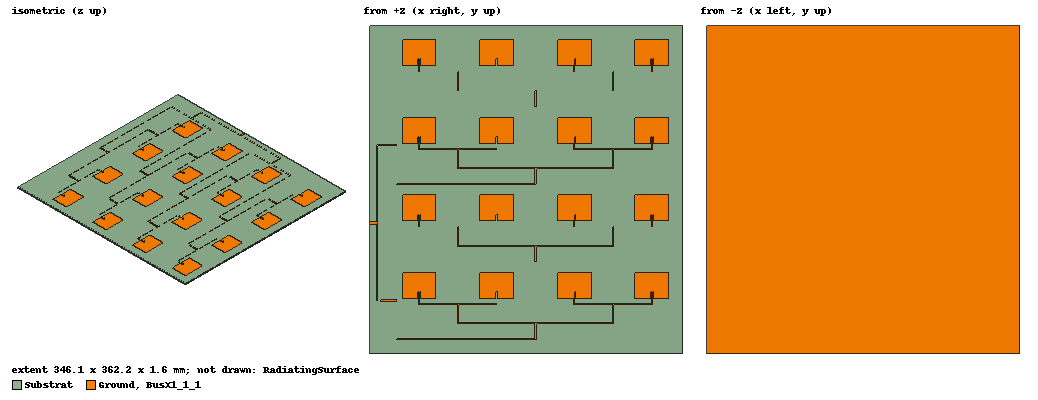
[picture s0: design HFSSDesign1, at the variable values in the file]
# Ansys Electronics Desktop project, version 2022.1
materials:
  vacuum: permittivity=1
  FR4_epoxy: permittivity=4.4 dielectric_loss_tangent=0.02

design HFSSDesign1 (HFSS, DrivenModal, model units mm)
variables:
  h = 1.6mm
  W = 37.234mm
  L = 28.809mm
  y0 = 7.434mm
  gi = 1mm
  dx = 85.655mm
  dy = 85.655mm
  W50 = 3.059mm
  W100 = 0.7092mm
  W70 = 1.621mm
  Q70 = 17.17mm
  cl1 = 6.5mm
  cl = 3.5mm
  stp = W100/2+Q70+cl
  Dout = L/2+cl1+1*stp+W100/2+Q70
  Lf = 8.5mm
  mg = 15.5mm
  Xmin = -1.5*dx-W/2-cl1-stp-W100/2-Lf
  Xmax = 1.5*dx+W/2+mg
  Ymin = -1.5*dy-Dout-W100/2-mg
  Ymax = 1.5*dy+L/2+mg
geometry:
  Substrat [FR4_epoxy] = box(corner=(Xmin, Ymin, 0mm), size=(Xmax-Xmin, Ymax-Ymin, h))
  Ground = rectangle(corner=(Xmin, Ymin, 0mm), x_size=Xmax-Xmin, y_size=Ymax-Ymin)
  patch_1 = rectangle(corner=(-1.5*dx-W/2, -1.5*dy-L/2, h), x_size=W, y_size=L)
  Cut_1 = rectangle(corner=(-1.5*dx-W100/2-gi, -1.5*dy-L/2, h), x_size=W100+2*gi, y_size=y0)
  patch_1.subtract(Cut_1)
  Stub_1 = rectangle(corner=(-1.5*dx-W100/2, -1.5*dy-L/2-cl1, h), x_size=W100, y_size=y0+cl1)
  patch_1.unite(Stub_1)
  patch_1_1, patch_1_2, patch_1_3 = patch_1.duplicate_along_line(step=(85.655mm, 0mm, 0mm), total=4)
  patch_1_4, patch_1_5, patch_1_6 = patch_1.duplicate_along_line(step=(0mm, 85.655mm, 0mm), total=4)
  patch_1_1_1, patch_1_1_2, patch_1_1_3 = patch_1_1.duplicate_along_line(step=(0mm, 85.655mm, 0mm), total=4)
  patch_1_2_1, patch_1_2_2, patch_1_2_3 = patch_1_2.duplicate_along_line(step=(0mm, 85.655mm, 0mm), total=4)
  patch_1_3_1, patch_1_3_2, patch_1_3_3 = patch_1_3.duplicate_along_line(step=(0mm, 85.655mm, 0mm), total=4)
  BusX1_1_1 = rectangle(corner=(-1.5*dx-W100/2, -1.5*dy-L/2-cl1-W100/2, h), x_size=dx+W100, y_size=W100)
  QWX1_1_1 = rectangle(corner=(-dx-W70/2, -1.5*dy-L/2-cl1-W100/2-Q70, h), x_size=W70, y_size=Q70)
  LnX1_1_1 = rectangle(corner=(-dx-W100/2, -1.5*dy-L/2-cl1-stp, h), x_size=W100, y_size=cl)
  BusX1_1_2 = rectangle(corner=(dx/2-W100/2, -1.5*dy-L/2-cl1-W100/2, h), x_size=dx+W100, y_size=W100)
  QWX1_1_2 = rectangle(corner=(dx-W70/2, -1.5*dy-L/2-cl1-W100/2-Q70, h), x_size=W70, y_size=Q70)
  LnX1_1_2 = rectangle(corner=(dx-W100/2, -1.5*dy-L/2-cl1-stp, h), x_size=W100, y_size=cl)
  BusX2_1_1 = rectangle(corner=(-dx-W100/2, -1.5*dy-L/2-cl1-stp-W100/2, h), x_size=2*dx+W100, y_size=W100)
  QWX2_1_1 = rectangle(corner=(-W70/2, -1.5*dy-L/2-cl1-stp-W100/2-Q70, h), x_size=W70, y_size=Q70)
  Row_1 = rectangle(corner=(-1.5*dx-W/2-cl1, -1.5*dy-Dout-W100/2, h), x_size=1.5*dx+W/2+cl1+W100/2, y_size=W100)
  BusX1_2_1 = rectangle(corner=(-1.5*dx-W100/2, -dy/2-L/2-cl1-W100/2, h), x_size=dx+W100, y_size=W100)
  QWX1_2_1 = rectangle(corner=(-dx-W70/2, -dy/2-L/2-cl1-W100/2-Q70, h), x_size=W70, y_size=Q70)
  LnX1_2_1 = rectangle(corner=(-dx-W100/2, -dy/2-L/2-cl1-stp, h), x_size=W100, y_size=cl)
  BusX1_2_2 = rectangle(corner=(dx/2-W100/2, -dy/2-L/2-cl1-W100/2, h), x_size=dx+W100, y_size=W100)
  QWX1_2_2 = rectangle(corner=(dx-W70/2, -dy/2-L/2-cl1-W100/2-Q70, h), x_size=W70, y_size=Q70)
  LnX1_2_2 = rectangle(corner=(dx-W100/2, -dy/2-L/2-cl1-stp, h), x_size=W100, y_size=cl)
  BusX2_2_1 = rectangle(corner=(-dx-W100/2, -dy/2-L/2-cl1-stp-W100/2, h), x_size=2*dx+W100, y_size=W100)
  QWX2_2_1 = rectangle(corner=(-W70/2, -dy/2-L/2-cl1-stp-W100/2-Q70, h), x_size=W70, y_size=Q70)
  Row_2 = rectangle(corner=(-1.5*dx-W/2-cl1, -dy/2-Dout-W100/2, h), x_size=1.5*dx+W/2+cl1+W100/2, y_size=W100)
  BusX1_3_1 = rectangle(corner=(-1.5*dx-W100/2, dy/2-L/2-cl1-W100/2, h), x_size=dx+W100, y_size=W100)
  QWX1_3_1 = rectangle(corner=(-dx-W70/2, dy/2-L/2-cl1-W100/2-Q70, h), x_size=W70, y_size=Q70)
  LnX1_3_1 = rectangle(corner=(-dx-W100/2, dy/2-L/2-cl1-stp, h), x_size=W100, y_size=cl)
  BusX1_3_2 = rectangle(corner=(dx/2-W100/2, dy/2-L/2-cl1-W100/2, h), x_size=dx+W100, y_size=W100)
  QWX1_3_2 = rectangle(corner=(dx-W70/2, dy/2-L/2-cl1-W100/2-Q70, h), x_size=W70, y_size=Q70)
  LnX1_3_2 = rectangle(corner=(dx-W100/2, dy/2-L/2-cl1-stp, h), x_size=W100, y_size=cl)
  BusX2_3_1 = rectangle(corner=(-dx-W100/2, dy/2-L/2-cl1-stp-W100/2, h), x_size=2*dx+W100, y_size=W100)
  QWX2_3_1 = rectangle(corner=(-W70/2, dy/2-L/2-cl1-stp-W100/2-Q70, h), x_size=W70, y_size=Q70)
  Row_3 = rectangle(corner=(-1.5*dx-W/2-cl1, dy/2-Dout-W100/2, h), x_size=1.5*dx+W/2+cl1+W100/2, y_size=W100)
  BusX1_4_1 = rectangle(corner=(-1.5*dx-W100/2, 1.5*dy-L/2-cl1-W100/2, h), x_size=dx+W100, y_size=W100)
  QWX1_4_1 = rectangle(corner=(-dx-W70/2, 1.5*dy-L/2-cl1-W100/2-Q70, h), x_size=W70, y_size=Q70)
  LnX1_4_1 = rectangle(corner=(-dx-W100/2, 1.5*dy-L/2-cl1-stp, h), x_size=W100, y_size=cl)
  BusX1_4_2 = rectangle(corner=(dx/2-W100/2, 1.5*dy-L/2-cl1-W100/2, h), x_size=dx+W100, y_size=W100)
  QWX1_4_2 = rectangle(corner=(dx-W70/2, 1.5*dy-L/2-cl1-W100/2-Q70, h), x_size=W70, y_size=Q70)
  LnX1_4_2 = rectangle(corner=(dx-W100/2, 1.5*dy-L/2-cl1-stp, h), x_size=W100, y_size=cl)
  BusX2_4_1 = rectangle(corner=(-dx-W100/2, 1.5*dy-L/2-cl1-stp-W100/2, h), x_size=2*dx+W100, y_size=W100)
  QWX2_4_1 = rectangle(corner=(-W70/2, 1.5*dy-L/2-cl1-stp-W100/2-Q70, h), x_size=W70, y_size=Q70)
  Row_4 = rectangle(corner=(-1.5*dx-W/2-cl1, 1.5*dy-Dout-W100/2, h), x_size=1.5*dx+W/2+cl1+W100/2, y_size=W100)
  BusY1_1 = rectangle(corner=(-1.5*dx-W/2-cl1-W100/2, -1.5*dy-Dout-W100/2, h), x_size=W100, y_size=dy+W100)
  QWY1_1 = rectangle(corner=(-1.5*dx-W/2-cl1-W100/2-Q70, -dy-Dout-W70/2, h), x_size=Q70, y_size=W70)
  LnY1_1 = rectangle(corner=(-1.5*dx-W/2-cl1-stp, -dy-Dout-W100/2, h), x_size=cl, y_size=W100)
  BusY1_2 = rectangle(corner=(-1.5*dx-W/2-cl1-W100/2, dy/2-Dout-W100/2, h), x_size=W100, y_size=dy+W100)
  QWY1_2 = rectangle(corner=(-1.5*dx-W/2-cl1-W100/2-Q70, dy-Dout-W70/2, h), x_size=Q70, y_size=W70)
  LnY1_2 = rectangle(corner=(-1.5*dx-W/2-cl1-stp, dy-Dout-W100/2, h), x_size=cl, y_size=W100)
  BusY2_1 = rectangle(corner=(-1.5*dx-W/2-cl1-stp-W100/2, -dy-Dout-W100/2, h), x_size=W100, y_size=2*dy+W100)
  Feed50 = rectangle(corner=(-1.5*dx-W/2-cl1-stp-W100/2-Lf, -Dout-W50/2, h), x_size=Lf, y_size=W50)
  BusX1_1_1.unite(BusX1_1_2, BusX1_2_1, BusX1_2_2, BusX1_3_1, BusX1_3_2, BusX1_4_1, BusX1_4_2, BusX2_1_1, BusX2_2_1, BusX2_3_1, BusX2_4_1, BusY1_1, BusY1_2, BusY2_1, Feed50, LnX1_1_1, LnX1_1_2, LnX1_2_1, LnX1_2_2, LnX1_3_1, LnX1_3_2, LnX1_4_1, LnX1_4_2, LnY1_1, LnY1_2, patch_1, patch_1_1, patch_1_1_1, patch_1_1_2, patch_1_1_3, patch_1_2, patch_1_2_1, patch_1_2_2, patch_1_2_3, patch_1_3, patch_1_3_1, patch_1_3_3, patch_1_3_2, patch_1_4, patch_1_5, patch_1_6, QWX1_1_1, QWX1_1_2, QWX1_2_1, QWX1_2_2, QWX1_3_1, QWX1_3_2, QWX1_4_1, QWX1_4_2, QWX2_1_1, QWX2_2_1, QWX2_3_1, QWX2_4_1, QWY1_1, QWY1_2, Row_1..Row_4)
  Port = rectangle(corner=(-1.5*dx-W/2-cl1-stp-W100/2-Lf, -Dout-W50/2, 0mm), y_size=W50, z_size=h)
  RadiatingSurface [vacuum] = region(absolute_offset=40.816327mm on all sides)
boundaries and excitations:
  PerfE1: Perfect E Objects=[BusX1_1_1, Ground]
  Open1: Radiation Objects=RadiatingSurface
  1: Lumped Port Objects=Port Modes{Mode1{IntLine{(-183.4787, -59.4537, 0) -> (-183.4787, -59.4537, 1.6)} CharImp=Zpi RenormImp=50ohm}} Impedance=50ohm
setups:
  Setup1: HfssDriven Frequency=2.45GHz MaxDeltaS=0.02 MaximumPasses=20 MinimumPasses=1 MinimumConvergedPasses=1 PercentRefinement=30 BasisOrder=1 PortAccuracy=2 DrivenSolverType="Direct Solver"
    sweep Sweep: 1.225GHz to 3.675GHz, 401 points; Type=Interpolating InterpTolerance=0.5 InterpMaxSolns=250 InterpUsePortImped=false PassivityErrorTolerance=0.0001
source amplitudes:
  1:1: 1W 0deg
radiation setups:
  3D: Infinite Sphere Theta=0deg..180deg step 2deg Phi=-180deg..180deg step 2deg
  Elevation: Infinite Sphere Theta=-180deg..180deg step 1deg Phi=0deg..90deg step 90deg
  Azimuth: Infinite Sphere Theta=90deg..90deg step 0deg Phi=-180deg..180deg step 1deg
